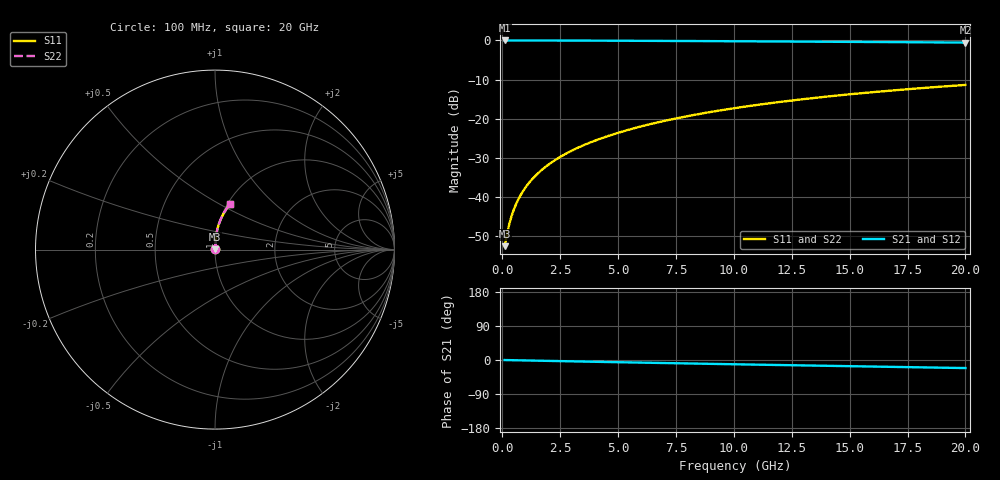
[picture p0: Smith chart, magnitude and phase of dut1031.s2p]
! Touchstone file exported from HFSS 2024.1.0
!  File:  C:/UserFiles/LocalFiles/RDL_TSV_Batchsim/temp_RDL_top_1031_1780043631.aedt
!  Generated:  04:36:39 PM May 29, 2026
!  Design:  RDL_top
!  Project:  temp_RDL_top_1031_1780043631
!  Setup:  Setup1
!  Solution:  Sweep
! Variables:
!  dtsv = 10.80580581um
!  hbump = 3um
!  htsv = 50.27um
!  ldown = 100um
!  lrdl = 221.19um
!  p = 40
!  p1 = 58.5um
!  rhole = 1um
!  t = 450um
!  tdown = 3.915915916um
!  trdl = 2.62um
!  wdown = 15.38538539um
!  wrdl = 17.75um
# GHz S MA R 50.000000
! Terminal data exported
! Port[1] = Box2_T1
! Port[2] = Box2_T2
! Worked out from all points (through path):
!   200 points, 100 MHz to 20 GHz, reference 50 ohm
!   highest |S21| = -0.02 dB at 100 MHz (marker M1); lowest = -0.6 dB at 20 GHz (marker M2)
!   group delay of S21, straight-line fit = 2.93 ps
!   lowest |S11| = -52.5 dB at 100 MHz (marker M3), VSWR 1.00, Z = 50.2 + j0.136 ohm
!   |S11| at or under -10 dB: start of sweep to end of sweep
!   |S22| runs from -52.5 to -11.4 dB; largest |S21 - S12| = 4.7e-15
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0.1  0.002377 34.9  0.998 -0.1  0.998 -0.1  0.002377 34.9
! Gamma 0 0 0 0
! Port Impedance 50 0 50 0
0.2  0.003357 53.8  0.998 -0.2  0.998 -0.2  0.003357 53.8
0.3  0.004521 63.3  0.9979 -0.4  0.9979 -0.4  0.004521 63.3
0.4  0.005744 68.7  0.9979 -0.5  0.9979 -0.5  0.005744 68.7
0.5  0.006988 72.2  0.9978 -0.6  0.9978 -0.6  0.006988 72.2
0.6  0.00824 74.7  0.9977 -0.7  0.9977 -0.7  0.00824 74.7
0.8  0.01076 77.9  0.9975 -1.0  0.9975 -1.0  0.01076 77.9
1.1  0.01456 80.7  0.9973 -1.3  0.9973 -1.3  0.01456 80.7
1.5  0.01967 82.8  0.9969 -1.8  0.9969 -1.8  0.01967 82.8
1.8  0.02354 83.8  0.9966 -2.2  0.9966 -2.2  0.02354 83.8
2.1  0.02743 84.4  0.9962 -2.5  0.9962 -2.5  0.02743 84.4
2.7  0.03529 85.3  0.9953 -3.2  0.9953 -3.2  0.03529 85.3
3.5  0.04592 85.7  0.9938 -4.1  0.9938 -4.1  0.04592 85.7
4.2  0.05535 85.8  0.9923 -4.9  0.9923 -4.9  0.05535 85.8
5  0.06627 85.7  0.9903 -5.8  0.9903 -5.8  0.06627 85.7
5.9  0.07871 85.3  0.988 -6.9  0.988 -6.9  0.07871 85.3
6.8  0.09127 84.7  0.9854 -7.8  0.9854 -7.8  0.09127 84.7
8.4  0.1138 83.4  0.9806 -9.6  0.9806 -9.6  0.1138 83.4
10.1  0.1377 81.8  0.9751 -11.4  0.9751 -11.4  0.1377 81.8
13.4  0.1836 78.4  0.9636 -14.8  0.9636 -14.8  0.1836 78.4
16.7  0.228 74.9  0.9512 -18.0  0.9512 -18.0  0.228 74.9
20  0.2705 71.5  0.9378 -21.3  0.9378 -21.3  0.2705 71.5
